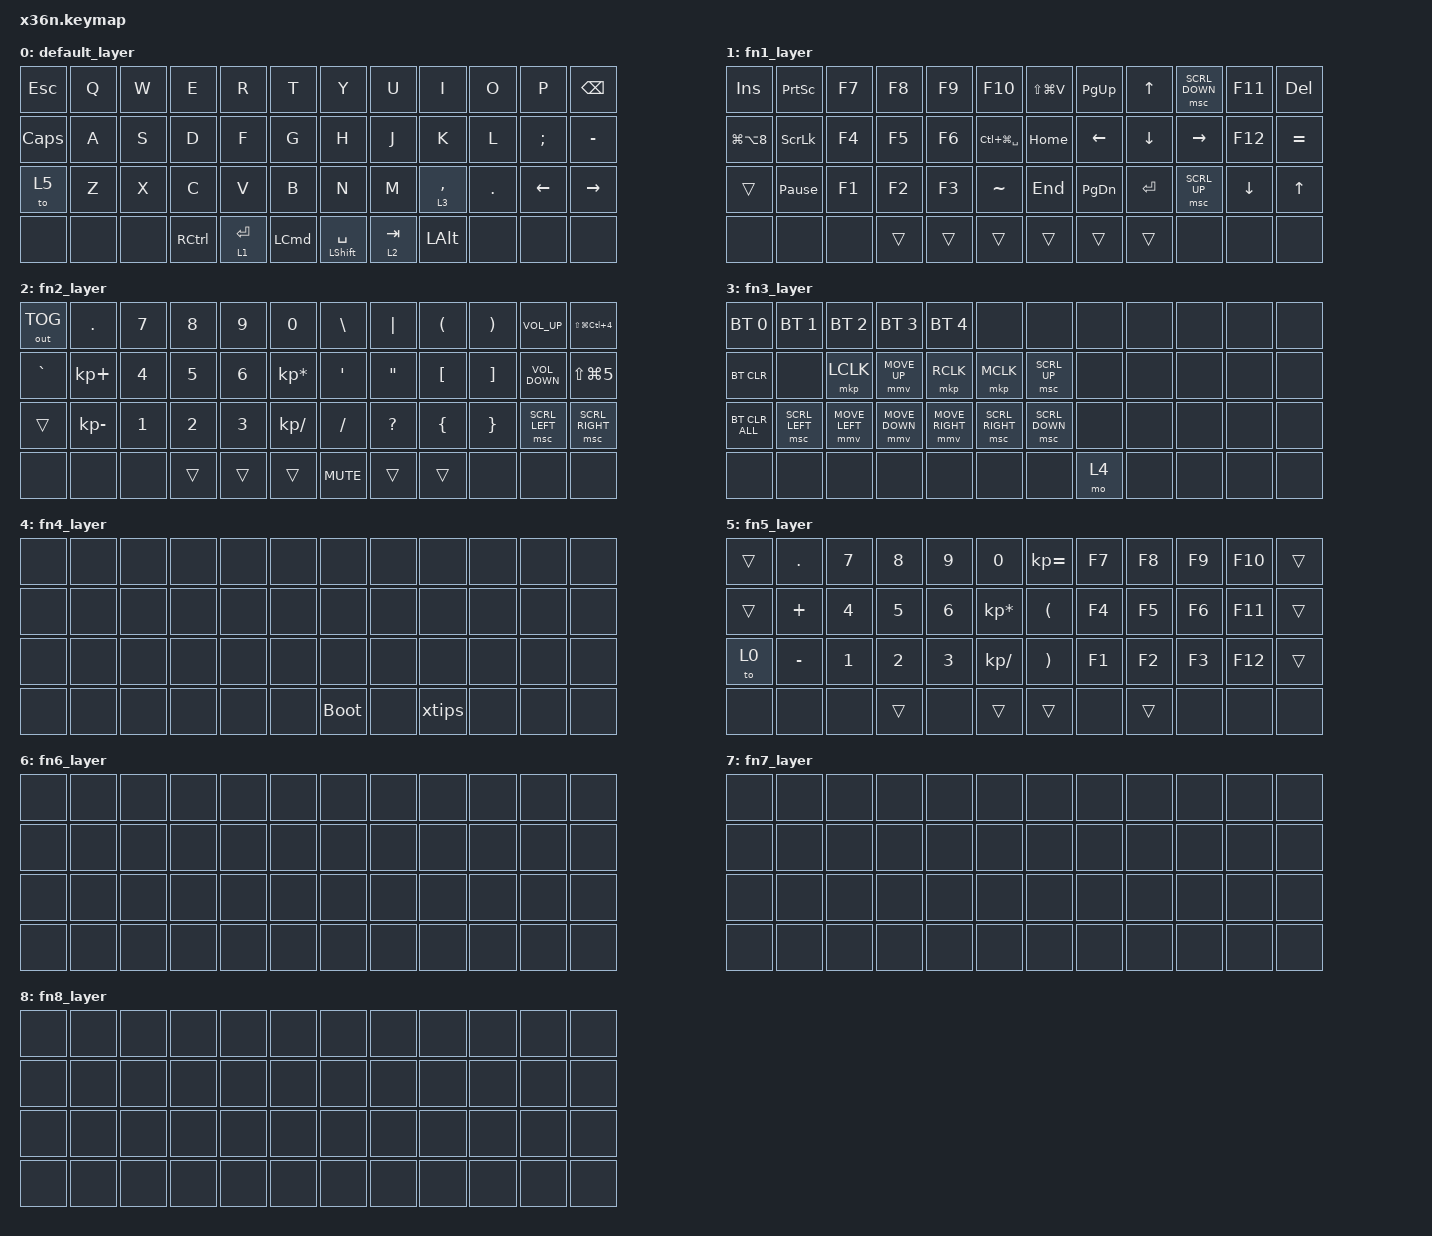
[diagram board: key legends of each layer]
/*
 * Copyright (c) 2020 The ZMK Contributors
 *
 * SPDX-License-Identifier: MIT
 */

#include <dt-bindings/zmk/mouse.h>
#include <behaviors.dtsi>
#include <dt-bindings/zmk/bt.h>
#include <dt-bindings/zmk/keys.h>
#include <dt-bindings/zmk/outputs.h>
#include <dt-bindings/zmk/pointing.h>

/ {
    macros {
        xtips: xtips {
            compatible = "zmk,behavior-macro";
            label = "XTIPS";
            #binding-cells = <0>;
            bindings = <&kp LS(X) &kp KP_DOT &kp LS(T) &kp I &kp P &kp S>;
            wait-ms = <1>;
            tap-ms = <1>;
        };
    };

    keymap0: keymap {
        compatible = "zmk,keymap";

        default_layer {
            bindings = <
&kp ESC   &kp Q  &kp W  &kp E      &kp R        &kp T             &kp Y             &kp U      &kp I         &kp O    &kp P     &kp BSPC
&kp CAPS  &kp A  &kp S  &kp D      &kp F        &kp G             &kp H             &kp J      &kp K         &kp L    &kp SEMI  &kp MINUS
&to 5     &kp Z  &kp X  &kp C      &kp V        &kp B             &kp N             &kp M      &lt 3 COMMA   &kp DOT  &kp LEFT  &kp RIGHT
&none     &none  &none  &kp RCTRL  &lt 1 ENTER  &kp LEFT_COMMAND  &mt LSHIFT SPACE  &lt 2 TAB  &kp LEFT_ALT  &none    &none     &none
            >;
        };

        fn1_layer {
            bindings = <
&kp INS         &kp PRINTSCREEN  &kp F7  &kp F8  &kp F9  &kp F10            &kp LS(LG(V))  &kp PAGE_UP     &kp UP_ARROW  &msc SCRL_DOWN   &kp F11   &kp DELETE
&kp LG(LA(N8))  &kp SCROLLLOCK   &kp F4  &kp F5  &kp F6  &kp LC(LG(SPACE))  &kp HOME       &kp LEFT_ARROW  &kp DOWN      &kp RIGHT_ARROW  &kp F12   &kp EQUAL
&trans          &kp PAUSE_BREAK  &kp F1  &kp F2  &kp F3  &kp TILDE          &kp END        &kp PAGE_DOWN   &kp ENTER     &msc SCRL_UP     &kp DOWN  &kp UP_ARROW
&none           &none            &none   &trans  &trans  &trans             &trans         &trans          &trans        &none            &none     &none
            >;
        };

        fn2_layer {
            bindings = <
&out OUT_TOG  &kp PERIOD    &kp N7  &kp N8  &kp N9  &kp N0           &kp BACKSLASH  &kp PIPE           &kp LEFT_PARENTHESIS  &kp RIGHT_PARENTHESIS  &kp C_VOLUME_UP    &kp LS(LG(LC(N4)))
&kp GRAVE     &kp KP_PLUS   &kp N4  &kp N5  &kp N6  &kp KP_MULTIPLY  &kp SQT        &kp DOUBLE_QUOTES  &kp LEFT_BRACKET      &kp RIGHT_BRACKET      &kp C_VOLUME_DOWN  &kp LS(LG(N5))
&trans        &kp KP_MINUS  &kp N1  &kp N2  &kp N3  &kp KP_DIVIDE    &kp SLASH      &kp QUESTION       &kp LEFT_BRACE        &kp RIGHT_BRACE        &msc SCRL_LEFT     &msc SCRL_RIGHT
&none         &none         &none   &trans  &trans  &trans           &kp K_MUTE     &trans             &trans                &none                  &none              &none
            >;
        };

        fn3_layer {
            bindings = <
&bt BT_SEL 0    &bt BT_SEL 1    &bt BT_SEL 2    &bt BT_SEL 3    &bt BT_SEL 4     &none            &none           &none  &none  &none  &none  &none
&bt BT_CLR      &none           &mkp LCLK       &mmv MOVE_UP    &mkp RCLK        &mkp MCLK        &msc SCRL_UP    &none  &none  &none  &none  &none
&bt BT_CLR_ALL  &msc SCRL_LEFT  &mmv MOVE_LEFT  &mmv MOVE_DOWN  &mmv MOVE_RIGHT  &msc SCRL_RIGHT  &msc SCRL_DOWN  &none  &none  &none  &none  &none
&none           &none           &none           &none           &none            &none            &none           &mo 4  &none  &none  &none  &none
            >;
        };

        fn4_layer {
            bindings = <
&none  &none  &none  &none  &none  &none  &none        &none  &none   &none  &none  &none
&none  &none  &none  &none  &none  &none  &none        &none  &none   &none  &none  &none
&none  &none  &none  &none  &none  &none  &none        &none  &none   &none  &none  &none
&none  &none  &none  &none  &none  &none  &bootloader  &none  &xtips  &none  &none  &none
            >;
        };

        fn5_layer {
            bindings = <
&trans  &kp PERIOD  &kp NUMBER_7  &kp NUMBER_8  &kp NUMBER_9  &kp NUMBER_0     &kp KP_EQUAL           &kp F7  &kp F8  &kp F9  &kp F10  &trans
&trans  &kp PLUS    &kp NUMBER_4  &kp NUMBER_5  &kp NUMBER_6  &kp KP_MULTIPLY  &kp LEFT_PARENTHESIS   &kp F4  &kp F5  &kp F6  &kp F11  &trans
&to 0   &kp MINUS   &kp NUMBER_1  &kp NUMBER_2  &kp NUMBER_3  &kp KP_DIVIDE    &kp RIGHT_PARENTHESIS  &kp F1  &kp F2  &kp F3  &kp F12  &trans
&none   &none       &none         &trans        &none         &trans           &trans                 &none   &trans  &none   &none    &none
            >;
        };

        fn6_layer {
            bindings = <
&none  &none  &none  &none  &none  &none  &none  &none  &none  &none  &none  &none
&none  &none  &none  &none  &none  &none  &none  &none  &none  &none  &none  &none
&none  &none  &none  &none  &none  &none  &none  &none  &none  &none  &none  &none
&none  &none  &none  &none  &none  &none  &none  &none  &none  &none  &none  &none
            >;
        };

        fn7_layer {
            bindings = <
&none  &none  &none  &none  &none  &none  &none  &none  &none  &none  &none  &none
&none  &none  &none  &none  &none  &none  &none  &none  &none  &none  &none  &none
&none  &none  &none  &none  &none  &none  &none  &none  &none  &none  &none  &none
&none  &none  &none  &none  &none  &none  &none  &none  &none  &none  &none  &none
            >;
        };

        fn8_layer {
            bindings = <
&none  &none  &none  &none  &none  &none  &none  &none  &none  &none  &none  &none
&none  &none  &none  &none  &none  &none  &none  &none  &none  &none  &none  &none
&none  &none  &none  &none  &none  &none  &none  &none  &none  &none  &none  &none
&none  &none  &none  &none  &none  &none  &none  &none  &none  &none  &none  &none
            >;
        };
    };
};
